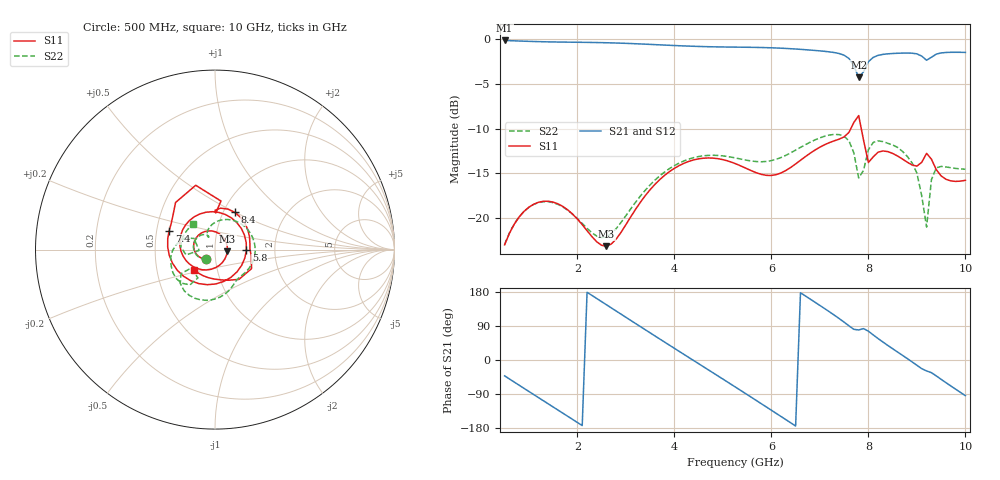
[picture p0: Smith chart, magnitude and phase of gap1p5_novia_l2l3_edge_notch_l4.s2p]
! Touchstone file exported from HFSS 3D Layout Design 2026.1.0
!  File:  D:/Work/ADS/SIMADS_EM_PAR/HFSS_VERDICT/hfss_sma_connector_cpw.aedt
!  Generated:  10:50:55 PM Aug  5, 2026
!  Design:  SINGLE_END_SMA_CPW_30MM
!  Project:  hfss_sma_connector_cpw
! Variables:
!  $sma_Base_D = 6.25mm
!  $sma_Base_L = 8mm
!  $sma_Feet_L = 4mm
!  $sma_Feet_W = 1mm
!  $sma_Front_L = 1.5mm
!  $sma_Front_W = 6.5mm
!  $sma_Hole_D = 1.25mm
!  $sma_PTFE_D = 4.2mm
!  $sma_Pin_D = 0.95mm
!  $sma_Pin_P = 1.7mm
# GHz S MA R 50.000000
! Terminal data exported
! Port[1] = Port1
! Port[2] = S1_1_Pin_T1
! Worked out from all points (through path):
!   96 points, 500 MHz to 10 GHz, reference 50 ohm
!   highest |S21| = -0.11 dB at 500 MHz (marker M1); lowest = -4.3 dB at 7.8 GHz (marker M2)
!   group delay of S21, straight-line fit = 226 ps
!   lowest |S11| = -23.2 dB at 2.6 GHz (marker M3), VSWR 1.15, Z = 57.4 - j0.966 ohm
!   |S11| at or under -10 dB: start of sweep to 7.638 GHz; 7.853 GHz to end of sweep
!   |S22| runs from -23.0 to -10.7 dB; largest |S21 - S12| = 5.9e-14
!   S11 on the Smith chart (normalised r, x): 500 MHz: 0.90, -0.09; 5.8 GHz: 1.42, -0.01; 7.4 GHz: 0.58, +0.13; 8.4 GHz: 1.13, +0.50; 10 GHz: 0.77, -0.18
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0.5  0.07038 -133.4  0.9875 -41.9  0.9875 -41.9  0.07079 -132.3
0.9  0.1084 -167.9  0.9782 -74.8  0.9782 -74.8  0.1085 -164.8
1.3  0.1236 157.1  0.9711 -107.6  0.9711 -107.6  0.1229 164.7
2.1  0.09139 74.8  0.964 -173.1  0.964 -173.1  0.09277 119.2
2.6  0.0692 -7.0  0.9587 145.7  0.9587 145.7  0.07818 117.9
3.2  0.1114 -100.6  0.9465 96.3  0.9465 96.3  0.1221 106.9
3.7  0.1637 -150.8  0.933 55.3  0.933 55.3  0.1718 75.6
4.1  0.1961 174.5  0.9225 22.7  0.9225 22.7  0.2026 46.6
4.5  0.2139 140.2  0.9141 -9.7  0.9141 -9.7  0.2203 17.8
5.3  0.1989 62.4  0.9057 -74.8  0.9057 -74.8  0.2152 -30.5
5.8  0.1748 -1.2  0.9014 -116.0  0.9014 -116.0  0.206 -49.3
6.4  0.1915 -88.8  0.8875 -165.9  0.8875 -165.9  0.2313 -66.9
6.9  0.2397 -151.3  0.8678 152.4  0.8678 152.4  0.2733 -88.5
7.4  0.2761 157.8  0.8337 109.2  0.8337 109.2  0.2925 -119.2
7.8  0.3741 106.7  0.6128 79.3  0.6128 79.3  0.167 -142.1
8  0.204 88.9  0.7505 76.0  0.7505 76.0  0.2407 -125.4
8.4  0.2349 62.2  0.8307 38.5  0.8307 38.5  0.2615 -158.2
8.5  0.2294 51.8  0.8344 29.8  0.8344 29.8  0.2559 -164.7
9  0.1946 0.7  0.8305 -13.9  0.8305 -13.9  0.1779 158.9
9.2  0.2296 -27.5  0.7651 -28.9  0.7651 -28.9  0.08857 -177.1
9.4  0.186 -66.7  0.8279 -42.0  0.8279 -42.0  0.1904 175.9
10  0.1621 -136.2  0.8462 -94.2  0.8462 -94.2  0.187 129.9
